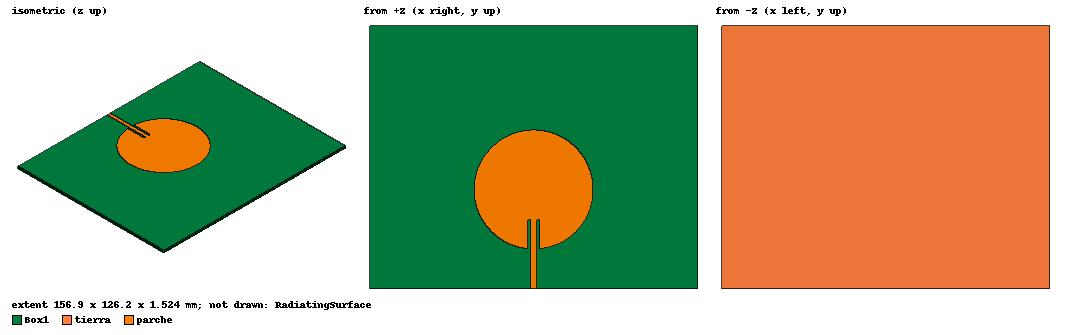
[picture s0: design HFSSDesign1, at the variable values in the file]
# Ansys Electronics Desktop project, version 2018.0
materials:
  vacuum: permittivity=1
  FR4_epoxy: permittivity=4.4 dielectric_loss_tangent=0.02
  air: permittivity=1.0006 permeability=1.0000004

design HFSSDesign1 (HFSS, DrivenModal, model units mm)
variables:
  A = 28.46mm
  wl = 2.64mm
  ll = 33.4mm
  s = 1.32mm
  h = 1.524mm
  lambda = 200mm
  B = 14.17mm
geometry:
  Box1 [FR4_epoxy] = box(corner=(0mm, 0mm, 0mm), size=(lambda/2+2*A, ll+B+A+lambda/4, h))
  tierra = rectangle(corner=(0mm, 0mm, 0mm), x_size=lambda/2+2*A, y_size=lambda/4+2*A-B+ll)
  parche = circle(normal=Z, centre=(lambda/4+A, ll+B, h), radius=A)
  hueco = rectangle(corner=(lambda/4+A -wl, ll-B, h), x_size=wl+2*s, y_size=B)
  parche.subtract(hueco)
  linea = rectangle(corner=(lambda/4+A-wl+s, 0, h), x_size=wl, y_size=ll)
  parche.unite(linea)
  puerto = rectangle(corner=(lambda/4 +A -s, 0mm, 0mm), z_size=h, x_size=wl)
  RadiatingSurface [air] = region(absolute_offset=lambda/4 on all sides)
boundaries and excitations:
  tierra: Perfect E Objects=tierra
  parche: Perfect E Objects=parche
  Rad1: Radiation Objects=RadiatingSurface
  1: Lumped Port Objects=puerto Modes{Mode1{IntLine{middle of puerto.edge(z at corner) -> middle of puerto.edge(z opposite corner)} CharImp=Zpi RenormImp=50ohm}} Impedance=50ohm
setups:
  Setup1: HfssDriven Frequency=1.5GHz MaxDeltaS=0.02 MaximumPasses=6 MinimumPasses=1 MinimumConvergedPasses=1 PercentRefinement=30 BasisOrder=1 PortAccuracy=2
    sweep Sweep: 1GHz to 2GHz step 0.02GHz; Type=Fast SaveFields
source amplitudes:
  1:1: 1W 0deg
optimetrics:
  ParametricSetup1: Parametric Sim._Setups=[Setup1]
    sweep ll: LIN 25mm 40mm 0.05mm
  ParametricSetup2: Parametric Sim._Setups=[Setup1]
    sweep B: LIN 14mm 15mm 0.01mm
  ParametricSetup3: Parametric Sim._Setups=[Setup1]
    sweep wl: LIN 1.32mm 3.96mm 0.02mm
  ParametricSetup4: Parametric Sim._Setups=[Setup1]
    sweep s: LIN 1mm 3mm 0.02mm
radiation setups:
  Infinite Sphere1: Infinite Sphere Theta=-180deg..180deg step 2deg Phi=-180deg..180deg step 2deg
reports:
  S Parameter Plot 1: dB(S(1,1)) vs Freq on Setup1 : Sweep [A=28.46mm wl=2.64mm ll=33.4mm,39.7mm]; markers MX1 at x=1.5003791e+09
  Z Parameter Plot 1: re(Z(1,1)), im(Z(1,1)) vs Freq on Setup1 : Sweep [ll=33.4mm,39.7mm]; markers MX1 at x=1.4965035e+09
  VSWR Plot 1: VSWR(1) vs Freq on Setup1 : Sweep [ll=33.4mm,39.7mm]; markers MX1 at x=1.5003762e+09
  Gain Plot 1: dB(GainTotal) vs Theta on Setup1 : LastAdaptive, Infinite Sphere1 [Phi=90deg Freq=1.5GHz]
  Gain Plot 2: dB(GainTotal) vs Phi, Theta on Setup1 : LastAdaptive, Infinite Sphere1 [Freq=1.5GHz]
  S Parameter Plot 2: dB(S(1,1)) vs Freq on Setup1 : Sweep [A=28.46mm wl=all ll=all B=all s=all]; markers MX1 at x=1.4996209e+09
